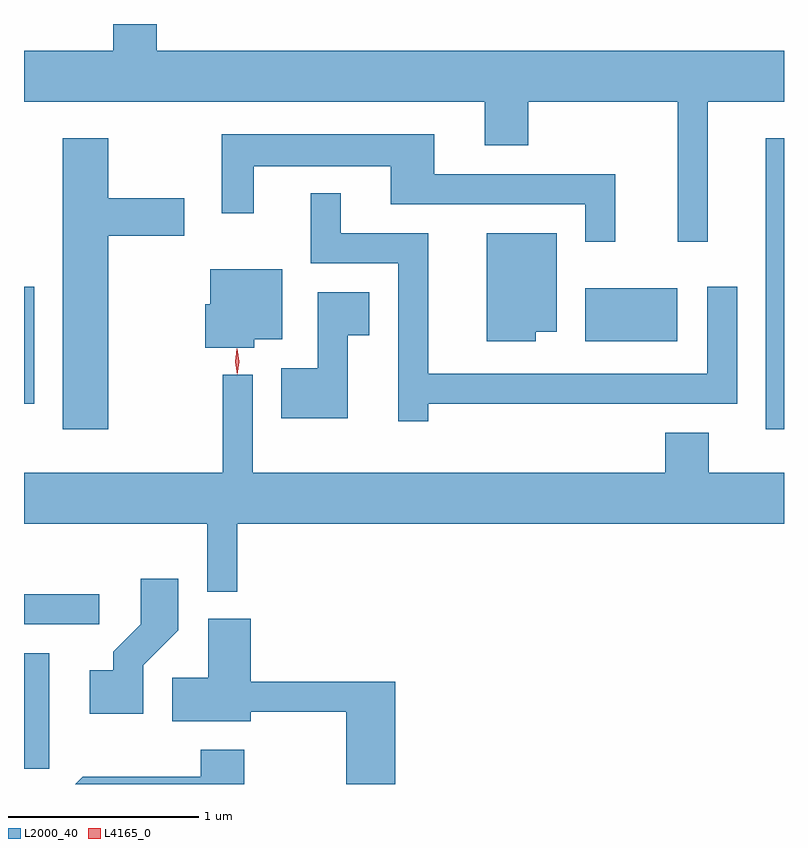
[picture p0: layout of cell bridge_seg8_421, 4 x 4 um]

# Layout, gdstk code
import gdstk
lib = gdstk.Library(unit=1e-6, precision=1e-09)
def R(c, l, rs):  # rectangles x0, y0, x1, y1
    for r in rs: c.add(gdstk.rectangle(r[:2], r[2:], *l))
def P(c, l, *ps):  # polygons
    for p in ps: c.add(gdstk.Polygon(p, *l))
L2000_40 = (2000, 40)
L4165_0 = (4165, 0)

bridge_seg8_421 = lib.new_cell('bridge_seg8_421')
R(bridge_seg8_421, L2000_40, [(897.701,1808.486,897.834,1809.094), (897.701,1809.246,898.098,1809.404), (901.606,1810.271,901.701,1811.804), (897.701,1810.406,897.754,1811.023), (900.656,1810.736,901.139,1811.014)])
P(bridge_seg8_421, L2000_40, [(901.299,1811.996),(901.701,1811.996),(901.701,1812.264),(898.399,1812.264),(898.399,1812.405),(898.171,1812.405),(898.171,1812.264),(897.701,1812.264),(897.701,1811.996),(900.126,1811.996),(900.126,1811.766),(900.354,1811.766),(900.354,1811.996),(901.141,1811.996),(901.141,1811.258),(901.299,1811.258)],
  [(900.814,1811.614),(899.859,1811.614),(899.859,1811.824),(898.741,1811.824),(898.741,1811.408),(898.909,1811.408),(898.909,1811.656),(899.631,1811.656),(899.631,1811.456),(900.656,1811.456),(900.656,1811.258),(900.814,1811.258)],
  [(898.144,1811.291),(898.544,1811.291),(898.544,1811.489),(898.144,1811.489),(898.144,1811.804),(897.906,1811.804),(897.906,1810.271),(898.144,1810.271)],
  [(899.829,1810.406),(901.454,1810.406),(901.454,1811.023),(901.296,1811.023),(901.296,1810.564),(899.829,1810.564),(899.829,1811.304),(899.369,1811.304),(899.369,1811.513),(899.211,1811.513),(899.211,1811.146),(899.671,1811.146),(899.671,1810.313),(899.829,1810.313)],
  [(900.394,1810.786),(900.504,1810.786),(900.504,1811.304),(900.136,1811.304),(900.136,1810.736),(900.394,1810.736)],
  [(898.914,1810.746),(899.059,1810.746),(899.059,1811.114),(898.681,1811.114),(898.681,1810.929),(898.656,1810.929),(898.656,1810.701),(898.914,1810.701)],
  [(899.404,1810.766),(899.519,1810.766),(899.519,1810.994),(899.246,1810.994),(899.246,1810.594),(899.056,1810.594),(899.056,1810.331),(899.404,1810.331)],
  [(898.824,1809.776),(901.701,1809.776),(901.701,1810.044),(901.304,1810.044),(901.304,1810.254),(901.076,1810.254),(901.076,1810.044),(898.904,1810.044),(898.904,1810.558),(898.746,1810.558),(898.746,1810.044),(897.701,1810.044),(897.701,1809.776),(898.666,1809.776),(898.666,1809.418),(898.824,1809.418)],
  [(898.329,1809.029),(898.514,1809.214),(898.514,1809.484),(898.316,1809.484),(898.316,1809.247),(898.171,1809.102),(898.171,1809.004),(898.046,1809.004),(898.046,1808.776),(898.329,1808.776)],
  [(899.654,1808.944),(898.894,1808.944),(898.894,1809.274),(898.671,1809.274),(898.671,1808.964),(898.481,1808.964),(898.481,1808.736),(898.894,1808.736),(898.894,1808.786),(899.396,1808.786),(899.396,1808.405),(899.654,1808.405)],
  [(898.859,1808.584),(898.631,1808.584),(898.631,1808.444),(898.009,1808.444),(897.97,1808.405),(898.859,1808.405)])
P(bridge_seg8_421, L4165_0, [(898.823,1810.56),(898.823,1810.56),(898.813,1810.628),(898.822,1810.695),(898.822,1810.696),(898.823,1810.695),(898.833,1810.628),(898.824,1810.56)])

lib.write_gds('bridge_seg8_421.gds')
